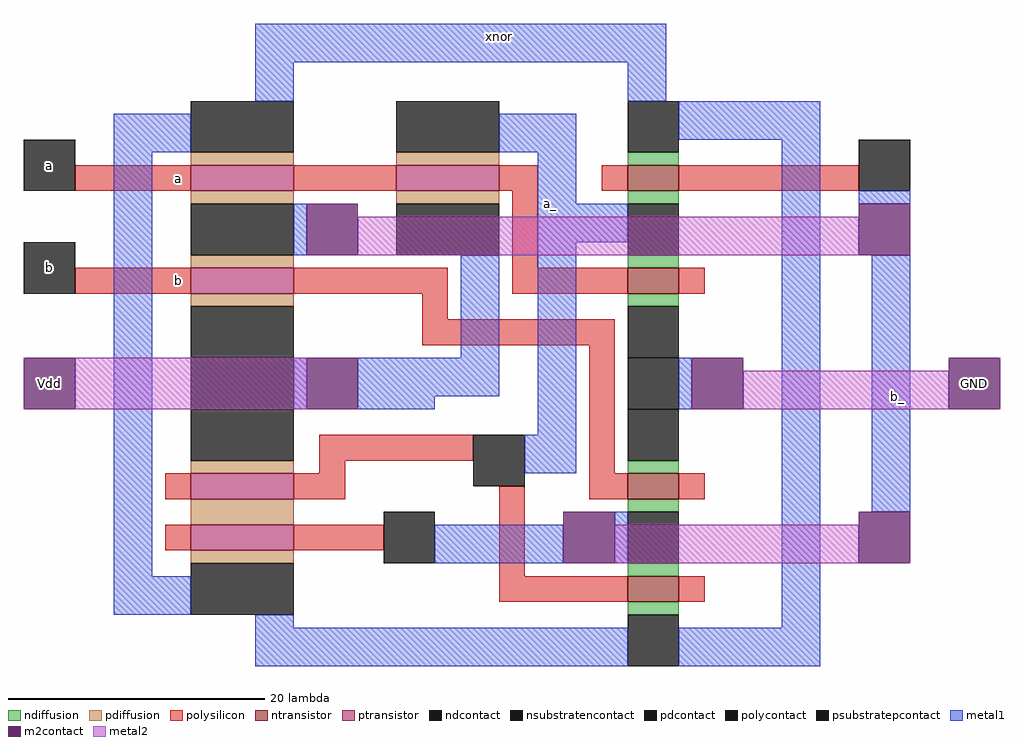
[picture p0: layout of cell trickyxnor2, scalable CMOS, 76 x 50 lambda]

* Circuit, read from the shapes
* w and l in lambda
.subckt trickyxnor2 GND Vdd a a_ b b_ xnor
M1 b_ a_ xnor GND nfet w=4 l=2
M2 GND b b_ GND nfet w=4 l=2
M3 a_ a GND GND nfet w=4 l=2
M4 xnor b_ a_ GND nfet w=4 l=2
M5 n1 b_ xnor Vdd pfet w=8 l=2
M6 Vdd a_ n1 Vdd pfet w=8 l=2
M7 b_ b Vdd Vdd pfet w=8 l=2
M8 xnor a b_ Vdd pfet w=8 l=2
M9 a_ a Vdd Vdd pfet w=8 l=2
.ends

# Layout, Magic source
magic
tech scmos
<< polysilicon >>
rect 4 41 13 43
rect 21 41 29 43
rect 37 41 40 43
rect 45 41 47 43
rect 51 41 65 43
rect 38 35 40 41
rect 4 33 13 35
rect 21 33 33 35
rect 38 33 47 35
rect 51 33 53 35
rect 31 31 33 33
rect 31 29 46 31
rect 23 20 35 22
rect 23 19 25 20
rect 11 17 13 19
rect 21 17 25 19
rect 11 13 13 15
rect 21 13 28 15
rect 37 11 39 18
rect 44 19 46 29
rect 44 17 47 19
rect 51 17 53 19
rect 37 9 47 11
rect 51 9 53 11
<< ndiffusion >>
rect 47 43 51 44
rect 47 40 51 41
rect 47 35 51 36
rect 47 32 51 33
rect 47 19 51 20
rect 47 16 51 17
rect 47 11 51 12
rect 47 8 51 9
<< pdiffusion >>
rect 13 43 21 44
rect 29 43 37 44
rect 13 40 21 41
rect 29 40 37 41
rect 13 35 21 36
rect 13 32 21 33
rect 13 19 21 20
rect 13 15 21 17
rect 13 12 21 13
<< metal1 >>
rect 18 51 50 54
rect 18 48 21 51
rect 47 48 50 51
rect 7 44 13 47
rect 37 44 43 47
rect 51 45 62 48
rect 7 11 10 44
rect 40 40 43 44
rect 21 36 22 40
rect 34 28 37 36
rect 21 24 22 28
rect 26 25 37 28
rect 40 37 47 40
rect 26 24 32 25
rect 40 22 43 37
rect 39 19 43 22
rect 51 24 52 28
rect 32 12 42 15
rect 46 12 47 16
rect 7 8 13 11
rect 18 7 21 8
rect 18 4 47 7
rect 59 7 62 45
rect 65 40 69 41
rect 66 16 69 36
rect 51 4 62 7
<< metal2 >>
rect 26 36 65 39
rect 4 24 22 28
rect 56 24 72 27
rect 46 12 65 15
<< ntransistor >>
rect 47 41 51 43
rect 47 33 51 35
rect 47 17 51 19
rect 47 9 51 11
<< ptransistor >>
rect 13 41 21 43
rect 29 41 37 43
rect 13 33 21 35
rect 13 17 21 19
rect 13 13 21 15
<< polycontact >>
rect 0 41 4 45
rect 65 41 69 45
rect 0 33 4 37
rect 35 18 39 22
rect 28 12 32 16
<< ndcontact >>
rect 47 44 51 48
rect 47 36 51 40
rect 47 28 51 32
rect 47 20 51 24
rect 47 12 51 16
rect 47 4 51 8
<< pdcontact >>
rect 13 44 21 48
rect 29 44 37 48
rect 13 36 21 40
rect 29 36 37 40
rect 13 28 21 32
rect 13 20 21 24
rect 13 8 21 12
<< m2contact >>
rect 0 24 4 28
rect 22 36 26 40
rect 22 24 26 28
rect 52 24 56 28
rect 42 12 46 16
rect 65 36 69 40
rect 72 24 76 28
rect 65 12 69 16
<< psubstratepcontact >>
rect 47 24 51 28
<< nsubstratencontact >>
rect 13 24 21 28
<< labels >>
rlabel polysilicon 12 34 12 34 3 b
rlabel polysilicon 12 42 12 42 3 a
rlabel metal1 41 40 41 40 1 a_
rlabel metal1 68 25 68 25 7 b_
rlabel m2contact 74 26 74 26 7 GND
rlabel m2contact 2 26 2 26 3 Vdd
rlabel polycontact 2 43 2 43 4 a
rlabel polycontact 2 35 2 35 3 b
rlabel metal1 37 53 37 53 5 xnor
<< end >>
